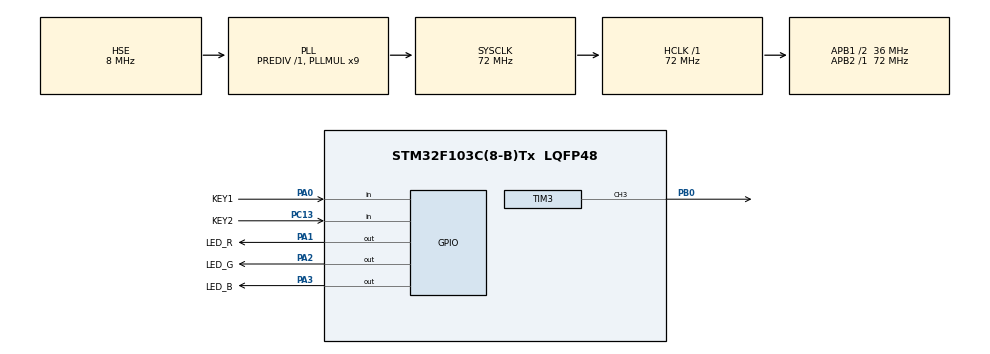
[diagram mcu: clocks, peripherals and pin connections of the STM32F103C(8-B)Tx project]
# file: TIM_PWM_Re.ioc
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Mcu.Family=STM32F1
Mcu.Name=STM32F103C(8-B)Tx
Mcu.Package=LQFP48
NVIC.PriorityGroup=NVIC_PRIORITYGROUP_4
NVIC.TIM3_IRQn=true\:0\:0\:false\:false\:true\:true\:true\:true
PA0-WKUP.GPIO_Label=KEY1
PA0-WKUP.GPIO_PuPd=GPIO_PULLDOWN
PA0-WKUP.Signal=GPIO_Input
PA1.GPIO_Label=LED_R
PA1.PinState=GPIO_PIN_SET
PA1.Signal=GPIO_Output
PA13.Mode=Serial_Wire
PA13.Signal=SYS_JTMS-SWDIO
PA14.Mode=Serial_Wire
PA14.Signal=SYS_JTCK-SWCLK
PA2.GPIO_Label=LED_G
PA2.PinState=GPIO_PIN_SET
PA2.Signal=GPIO_Output
PA3.GPIO_Label=LED_B
PA3.PinState=GPIO_PIN_SET
PA3.Signal=GPIO_Output
PB0.Signal=S_TIM3_CH3
PC13-TAMPER-RTC.GPIO_Label=KEY2
PC13-TAMPER-RTC.GPIO_PuPd=GPIO_PULLDOWN
PC13-TAMPER-RTC.Signal=GPIO_Input
PC14-OSC32_IN.Mode=LSE-External-Oscillator
PC14-OSC32_IN.Signal=RCC_OSC32_IN
PC15-OSC32_OUT.Mode=LSE-External-Oscillator
PC15-OSC32_OUT.Signal=RCC_OSC32_OUT
PD0-OSC_IN.Mode=HSE-External-Oscillator
PD0-OSC_IN.Signal=RCC_OSC_IN
PD1-OSC_OUT.Mode=HSE-External-Oscillator
PD1-OSC_OUT.Signal=RCC_OSC_OUT
ProjectManager.HeapSize=0x200
ProjectManager.StackSize=0x400
ProjectManager.TargetToolchain=CMake
RCC.AHBFreq_Value=72000000
RCC.APB1CLKDivider=RCC_HCLK_DIV2
RCC.APB1Freq_Value=36000000
RCC.APB1TimFreq_Value=72000000
RCC.APB2Freq_Value=72000000
RCC.APB2TimFreq_Value=72000000
RCC.HCLKFreq_Value=72000000
RCC.PLLMUL=RCC_PLL_MUL9
RCC.PLLSourceVirtual=RCC_PLLSOURCE_HSE
RCC.SYSCLKFreq_VALUE=72000000
RCC.SYSCLKSource=RCC_SYSCLKSOURCE_PLLCLK
RCC.USBFreq_Value=72000000
SH.S_TIM3_CH3.0=TIM3_CH3,PWM Generation3 CH3
TIM3.Channel-PWM\ Generation3\ CH3=TIM_CHANNEL_3
TIM3.Prescaler=72-1
board=custom

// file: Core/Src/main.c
/* USER CODE BEGIN Header */
/**
  ******************************************************************************
  * @file           : main.c
  * @brief          : Main program body
  ******************************************************************************
  * @attention
  *
  * Copyright (c) 2026 STMicroelectronics.
  * All rights reserved.
  *
  * This software is licensed under terms that can be found in the LICENSE file
  * in the root directory of this software component.
  * If no LICENSE file comes with this software, it is provided AS-IS.
  *
  ******************************************************************************
  */
/* USER CODE END Header */
#include "main.h"
#include "stm32f1xx_hal.h"
#include "stm32f1xx_hal_gpio.h"
#include "stm32f1xx_hal_tim.h"
#include "tim.h"
#include "gpio.h"
#include <stdint.h>

/* USER CODE BEGIN PD */
#define SG90_MIN 500
#define SG90_MAX 2500
#define SG90_STEP 500
/* USER CODE END PD */

/* USER CODE BEGIN PV */
uint16_t sg90_angle = 500;
/* USER CODE END PV */

void SystemClock_Config(void);

int main(void)
{

  /* MCU Configuration--------------------------------------------------------*/

  /* Reset of all peripherals, Initializes the Flash interface and the Systick. */
  HAL_Init();

  /* Configure the system clock */
  SystemClock_Config();

  /* Initialize all configured peripherals */
  MX_GPIO_Init();
  MX_TIM3_Init();
  /* USER CODE BEGIN 2 */
  HAL_TIM_PWM_Start(&htim3, TIM_CHANNEL_3);
  __HAL_TIM_SET_COMPARE(&htim3, TIM_CHANNEL_3, sg90_angle );
  /* USER CODE END 2 */

  /* Infinite loop */
  /* USER CODE BEGIN WHILE */
  while (1)
  {
    if(HAL_GPIO_ReadPin(GPIOA, KEY1_Pin) == GPIO_PIN_SET)
    {
      if(sg90_angle == SG90_MAX)
      {
        sg90_angle = SG90_MIN;
        __HAL_TIM_SET_COMPARE(&htim3, TIM_CHANNEL_3, sg90_angle);
        HAL_GPIO_WritePin(GPIOA, LED_B_Pin, GPIO_PIN_RESET);
        HAL_Delay(200);
        HAL_GPIO_TogglePin(GPIOA, LED_B_Pin);
      }
      else
      {
        sg90_angle += 500;
        __HAL_TIM_SET_COMPARE(&htim3, TIM_CHANNEL_3, sg90_angle);
        HAL_GPIO_WritePin(GPIOA, LED_G_Pin, GPIO_PIN_RESET);
        HAL_Delay(200);
        HAL_GPIO_TogglePin(GPIOA, LED_G_Pin);
      }
      while(HAL_GPIO_ReadPin(GPIOA, KEY1_Pin) == GPIO_PIN_SET);
    }
    if(HAL_GPIO_ReadPin(GPIOC, KEY2_Pin) == GPIO_PIN_SET)
    {
      if(sg90_angle == SG90_MIN)
      {
        sg90_angle = SG90_MAX;
        __HAL_TIM_SET_COMPARE(&htim3, TIM_CHANNEL_3, sg90_angle);
        HAL_GPIO_WritePin(GPIOA, LED_B_Pin, GPIO_PIN_RESET);
        HAL_Delay(200);
        HAL_GPIO_TogglePin(GPIOA, LED_B_Pin);
      }
      else
      {
        sg90_angle -= 500;
        __HAL_TIM_SET_COMPARE(&htim3, TIM_CHANNEL_3, sg90_angle);
        HAL_GPIO_WritePin(GPIOA, LED_R_Pin, GPIO_PIN_RESET);
        HAL_Delay(200);
        HAL_GPIO_TogglePin(GPIOA, LED_R_Pin);
      }
      while(HAL_GPIO_ReadPin(GPIOC, KEY2_Pin) == GPIO_PIN_SET);
    }

    /* USER CODE END WHILE */

  }
}

void SystemClock_Config(void)
{
  RCC_OscInitTypeDef RCC_OscInitStruct = {0};
  RCC_ClkInitTypeDef RCC_ClkInitStruct = {0};

  /** Initializes the RCC Oscillators according to the specified parameters
  * in the RCC_OscInitTypeDef structure.
  */
  RCC_OscInitStruct.OscillatorType = RCC_OSCILLATORTYPE_HSE;
  RCC_OscInitStruct.HSEState = RCC_HSE_ON;
  RCC_OscInitStruct.HSEPredivValue = RCC_HSE_PREDIV_DIV1;
  RCC_OscInitStruct.HSIState = RCC_HSI_ON;
  RCC_OscInitStruct.PLL.PLLState = RCC_PLL_ON;
  RCC_OscInitStruct.PLL.PLLSource = RCC_PLLSOURCE_HSE;
  RCC_OscInitStruct.PLL.PLLMUL = RCC_PLL_MUL9;
  if (HAL_RCC_OscConfig(&RCC_OscInitStruct) != HAL_OK)
  {
    Error_Handler();
  }

  /** Initializes the CPU, AHB and APB buses clocks
  */
  RCC_ClkInitStruct.ClockType = RCC_CLOCKTYPE_HCLK|RCC_CLOCKTYPE_SYSCLK
                              |RCC_CLOCKTYPE_PCLK1|RCC_CLOCKTYPE_PCLK2;
  RCC_ClkInitStruct.SYSCLKSource = RCC_SYSCLKSOURCE_PLLCLK;
  RCC_ClkInitStruct.AHBCLKDivider = RCC_SYSCLK_DIV1;
  RCC_ClkInitStruct.APB1CLKDivider = RCC_HCLK_DIV2;
  RCC_ClkInitStruct.APB2CLKDivider = RCC_HCLK_DIV1;

  if (HAL_RCC_ClockConfig(&RCC_ClkInitStruct, FLASH_LATENCY_2) != HAL_OK)
  {
    Error_Handler();
  }
}

void Error_Handler(void)
{
  __disable_irq();
  while (1)
  {
  }
}
